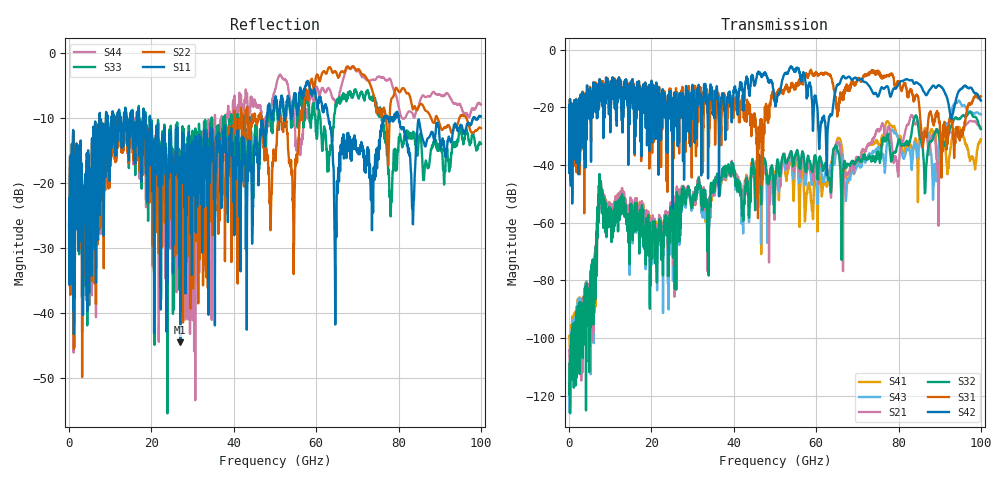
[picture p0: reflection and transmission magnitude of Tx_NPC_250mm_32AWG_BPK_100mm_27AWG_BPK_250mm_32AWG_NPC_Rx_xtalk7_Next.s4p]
! Info: Touchstone file created by Circ.  Input file=Tx_NPC_250mm_32AWG_BPK_100mm_27AWG_BPK_250mm_32AWG_NPC_Rx.circ
# Hz S RI R 50
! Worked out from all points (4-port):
!   10000 points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, 10 MHz to 100 GHz, reference 50 ohm
!   strongest paths, dB at 10 MHz, 25.01 GHz, 50.01 GHz, 75.01 GHz, 100 GHz:
!     S42: -32.0, -21.9, -18.4, -16.3, -17.6
!     S31: -32.0, -20.4, -16.5, -7.6, -16.2
!     S32: -115.6, -57.4, -47.3, -35.3, -27.5
!     S21: -104.1, -54.6, -51.1, -28.2, -26.9
!     S43: -125.5, -56.8, -44.1, -33.8, -22.4
!     S41: -99.5, -54.5, -42.3, -32.6, -31.0
!   lowest |S11| = -44.5 dB at 27 GHz (marker M1), VSWR 1.01, Z = 50.4 + j0.459 ohm
!   |S11| at or under -10 dB: 19.64 GHz to 48 GHz (28.36 GHz wide, 83.9 % of centre); 62.98 GHz to 76.44 GHz (13.47 GHz wide, 19.3 % of centre); 80.04 GHz to 98.12 GHz (18.08 GHz wide, 20.3 % of centre) (the widest 3 of 44)
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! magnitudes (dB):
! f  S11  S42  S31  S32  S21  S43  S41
! 10 MHz  -26.6  -32.0  -32.0  -115.6  -104.1  -125.5  -99.5
! 5.62 GHz  -14.6  -15.2  -15.3  -77.6  -80.2  -76.7  -77.4
! 7.72 GHz  -10.5  -11.4  -10.8  -46.0  -45.8  -46.1  -45.8
! 19.77 GHz  -11.5  -14.3  -14.4  -81.2  -69.3  -78.5  -67.1
! 27 GHz  -44.5  -20.9  -22.2  -51.3  -48.5  -51.5  -48.7
! 88.77 GHz  -13.6  -12.8  -24.4  -29.2  -29.2  -39.6  -28.5
! 100 GHz  -9.8  -17.6  -16.2  -27.5  -26.9  -22.4  -31.0
